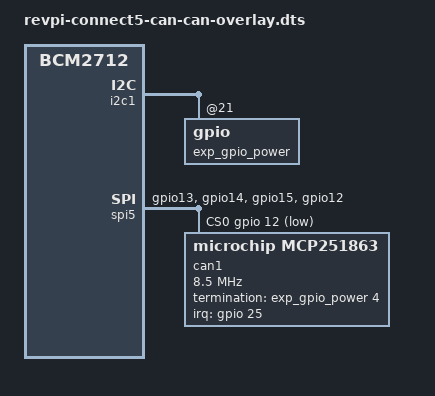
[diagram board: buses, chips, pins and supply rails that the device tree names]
// SPDX-License-Identifier: GPL-2.0
// SPDX-FileCopyrightText: Copyright 2024 KUNBUS GmbH

#include "revpi-connect5-can-overlay.dts"
#include <dt-bindings/gpio/gpio.h>
#include <dt-bindings/interrupt-controller/irq.h>

/ {
	compatible = "brcm,bcm2712";

	fragment@0 {
		target-path = "/";
		__overlay__ {
			compatible = "kunbus,revpi-connect5-can-can",
				     "kunbus,revpi-connect5", "brcm,bcm2712";
		};
	};

	fragment@1 {
		target = <&gpio>;
		__overlay__ {
			gpio-line-names =
				"ID_SDA", // GPIO0
				"ID_SCL", // GPIO1
				"I2C1_SDA", // GPIO2
				"I2C1_SCL", // GPIO3
				"UART2_TX", // GPIO4
				"UART2_RX", // GPIO5
				"INT_CAN0", // GPIO6
				"UART2_RTS", // GPIO7
				"INT_IOEX_CORE", // GPIO8
				"INT_IOX_POWER", // GPIO9
				"INT_TPM", // GPIO10
				"SPI1_CS1", // GPIO11
				"SPI5_CS1", // GPIO12
				"SPI5_MISO", // GPIO13
				"SPI5_MOSI", // GPIO14
				"SPI5_CLK", // GPIO15
				"-", // GPIO16
				"ID_WP", // GPIO17
				"SPI1_CS0", // GPIO18
				"SPI1_MISO", // GPIO19
				"SPI1_MOSI", // GPIO20
				"SPI1_CLK", // GPIO21
				"-", // GPIO22
				"-", // GPIO23
				"-", // GPIO24
				"INT_CAN1", // GPIO25
				"-", // GPIO26
				"-", // GPIO27

				"PCIE_PWR_EN", // GPIO28
				"FAN_TACH", // GPIO29
				"HOST_SDA", // GPIO30
				"HOST_SCL", // GPIO31
				"ETH_RST_N", // GPIO32
				"PCIE_DET_WAKE", // GPIO33

				"CD0_IO0_MICCLK", // GPIO34
				"CD0_IO0_MICDAT0", // GPIO35
				"RP1_PCIE_CLKREQ_N", // GPIO36
				"ETH_IRQ_N", // GPIO37
				"SDA0", // GPIO38
				"SCL0", // GPIO39
				"-", // GPIO40
				"-", // GPIO41
				"USB_VBUS_EN", // GPIO42
				"USB_OC_N", // GPIO43
				"RP1_STAT_LED", // GPIO44
				"FAN_PWM", // GPIO45
				"-", // GPIO46
				"2712_WAKE", // GPIO47
				"-", // GPIO48
				"-", // GPIO49
				"-", // GPIO50
				"-", // GPIO51
				"-", // GPIO52
				"-"; // GPIO53

			can1_pins: can1_pins {
				/* IRQ */
				function = "gpio";
				pins = "gpio25";
				bias-disable;
			};

			con5_spi5_pins: con5_spi5_pins {
				/* MISO, MOSI, CLK */
				function = "spi5";
				pins = "gpio13", "gpio14", "gpio15";
				bias-disable;
			};

			con5_spi5_cs_pins: con5_spi5_cs_pins {
				/* CE0 (CAN1) */
				function = "gpio";
				pins = "gpio12";
				bias-disable;
			};
		};
	};


	fragment@2 {
		target = <&i2c1>;
		__overlay__ {
			exp_gpio_power: gpio@21 {
				gpio-line-names =
					"LED_A3_RD", // GPIO0 / P0_0
					"LED_A3_GN", // GPIO1 / P0_1
					"LED_A3_BL", // GPIO2 / P0_2
					"PB_R_MPX_S", // GPIO3 / P0_3
					"CAN1_TERM", // GPIO4 / P0_4
					"PB_R_DETECT", // GPIO5 / P0_5
					"PB_R_ETH_RST", // GPIO6 / P0_6
					"CAN1_STBY", // GPIO7 / P0_7
					"LED_A4_RD", // GPIO8 / P1_0
					"LED_A4_GN", // GPIO9 / P1_1
					"LED_A4_BL", // GPIO10 / P1_2
					"LED_A5_RD", // GPIO11 / P1_3
					"LED_A5_GN", // GPIO12 / P1_4
					"LED_A5_BL", // GPIO13 / P1_5
					"PB_R_SNIFF", // GPIO14 / P1_6
					"PB_R_ACK"; // GPIO15 / P1_7
			};
		};
	};

	/* UART4 */
	fragment@6 {
		target = <&uart4>;
		__overlay__ {
			status = "disabled";
		};
	};

	/* SPI5 */
	fragment@200 {
		target = <&spi5>;
		__overlay__ {
			pinctrl-names = "default";
			pinctrl-0 = <&con5_spi5_pins>, <&con5_spi5_cs_pins>;
			cs-gpios = <&gpio 12 GPIO_ACTIVE_LOW>;
			status = "okay";

			can1: can@0 {
				compatible = "microchip,mcp251863";
				pinctrl-names = "default";
				pinctrl-0 = <&can1_pins>;
				reg = <0>;
				clocks = <&can_20mhz_osc>;
				/*
				   FSCK must be less than or equal to 0.85*(FSYSCLK/2)
				   0.85 * (20MHz / 2) = 8.5MHz
				*/
				spi-max-frequency = <8500000>;
				interrupts-extended = <&gpio 25 IRQ_TYPE_LEVEL_LOW>;
				termination-gpios = <&exp_gpio_power 4 GPIO_ACTIVE_HIGH>;
				termination-ohms = <120>;
			};
		};
	};
};
